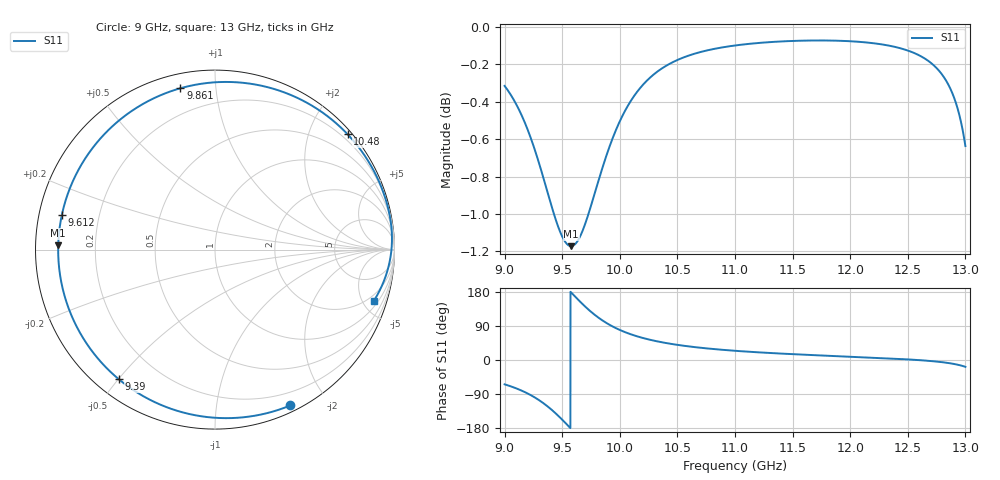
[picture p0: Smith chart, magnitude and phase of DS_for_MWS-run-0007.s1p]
! TOUCHSTONE file generated by CST DESIGN STUDIO
! Date and time: Tue Feb  4 18:04:55 2025
! Project name: C:\Work\MatlabApps\UnitCellOptimizationMatlab\CST\unitcell.cst
! Tree item: Tasks\Sweep1\SPara1\S-Parameters
! Header version: 2024
! Port assignment regex: !\s*Touchstone port\s*([0-9]+)\s*=\s*(CST MWS port|CST DES external port|CST DES block port)\s*(.+)\s* \(\"(.*)\"\)(\s*mode\s*([0-9]+))?.*
! Touchstone port assignment:
! Touchstone port 1 = CST DES external port 1 ("")
# GHz S MA R 50
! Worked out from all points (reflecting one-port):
!   4001 points, 9 GHz to 13 GHz, reference 50 ohm
!   lowest |S11| = -1.2 dB at 9.577 GHz (marker M1), VSWR 14.84, Z = 3.37 + j0.697 ohm
!   phase of S11 starts at -64 deg and turns -314 deg over the sweep
!   S11 on the Smith chart (normalised r, x): 9 GHz: 0.06, -1.59; 9.39 GHz: 0.07, -0.50; 9.612 GHz: 0.07, +0.11; 9.861 GHz: 0.07, +0.81; 10.48 GHz: 0.09, +2.67; 13 GHz: 1.41, -5.97
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9  0.9643 -64.2
9.116  0.9515 -76.7
9.235  0.9325 -94.1
9.317  0.9157 -109.7
9.39  0.8994 -126.6
9.444  0.8881 -141.0
9.5  0.879 -157.5
9.539  0.8751 -169.6
9.577  0.8738 178.4
9.612  0.8749 167.3
9.669  0.8809 149.8
9.737  0.8931 130.6
9.797  0.9058 115.8
9.861  0.9194 102.1
9.925  0.9316 90.5
10  0.9436 79.3
10.099  0.9559 67.5
10.208  0.9656 57.5
10.332  0.9732 48.8
10.476  0.9791 41.0
10.5  0.9799 39.9
10.72  0.985 31.7
11  0.9887 24.3
11.5  0.9914 15.4
12  0.9912 8.7
12.5  0.9856 1.6
12.803  0.9706 -5.9
13  0.9293 -18.1
